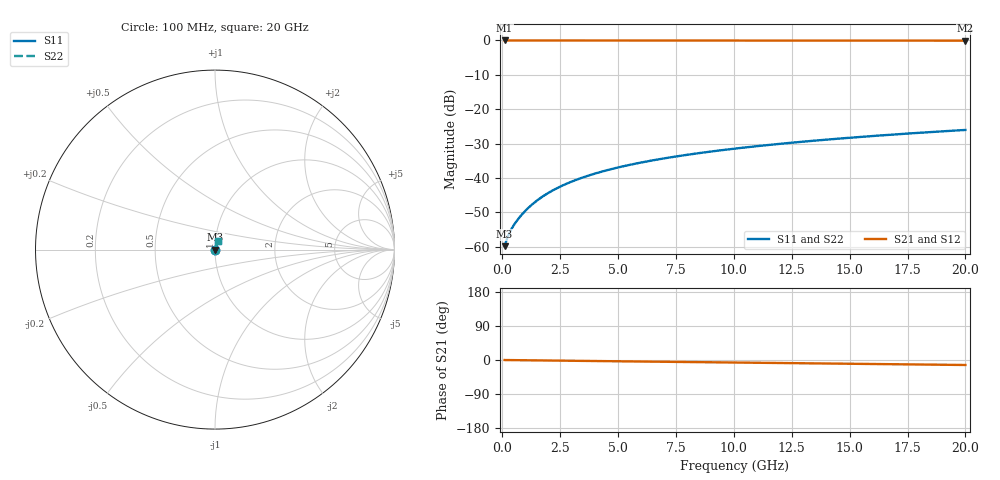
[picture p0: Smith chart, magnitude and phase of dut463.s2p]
! Touchstone file exported from HFSS 2026.1.0
!  File:  C:/ffzhzh/LocalFiles/Ansys_Project_Files/temp_train_TMRDL_463_1783006029_53980.aedt
!  Generated:  11:28:57 PM Jul  2, 2026
!  Design:  TMRDL
!  Project:  temp_train_TMRDL_463_1783006029_53980
! Variables:
!  h_bsmrdl = 2um
!  h_ox = 20um
!  h_rdl = 5um
!  h_sub = 80um
!  h_tmrdl = 4.23um
!  h_tsv = 80um
!  h_via = 3um
!  l_bsmrdl = 300um
!  l_sub = 611.84um
!  l_tmrdl = 211.84um
!  m_sub = 200um
!  pitch = 33.83um
!  r_tsv = 6um
!  s_tmrdl = 10um
!  w_bsmrdl = 18um
!  w_sub = 500um
!  w_tmrdl = 25.52um
!  x_tsv_center1 = 224.6um
!  x_tsv_center2 = 542.6um
!  x_tsv_center3 = 779.96um
!  x_tsv_center4 = 1097.96um
!  x_tsv_center5 = 1335.32um
!  x_tsv_center6 = 1653.32um
# GHz S MA R 50.000000
! Terminal data exported
! Port[1] = TM_RDL1_1_T1
! Port[2] = TM_RDL1_1_T2
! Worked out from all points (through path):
!   200 points, 100 MHz to 20 GHz, reference 50 ohm
!   highest |S21| = -0.01 dB at 100 MHz (marker M1); lowest = -0.1 dB at 20 GHz (marker M2)
!   group delay of S21, straight-line fit = 1.82 ps
!   lowest |S11| = -59.8 dB at 100 MHz (marker M3), VSWR 1.00, Z = 50.1 + j0.0436 ohm
!   |S11| at or under -10 dB: start of sweep to end of sweep
!   |S22| runs from -59.8 to -26.0 dB; largest |S21 - S12| = 3.5e-15
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0.1  0.001018 25.3  0.9991 -0.1  0.9991 -0.1  0.001018 25.3
! Gamma 0 0 0 0
! Port Impedance 50 0 50 0
0.2  0.001298 37.9  0.999 -0.1  0.999 -0.1  0.001298 37.9
0.3  0.001569 44.6  0.9989 -0.2  0.9989 -0.2  0.001569 44.6
0.4  0.001821 49.4  0.9988 -0.3  0.9988 -0.3  0.001821 49.4
0.5  0.002065 53.3  0.9988 -0.4  0.9988 -0.4  0.002065 53.3
0.7  0.00256 59.4  0.9987 -0.5  0.9987 -0.5  0.00256 59.4
0.9  0.003074 63.8  0.9987 -0.6  0.9987 -0.6  0.003074 63.8
1.1  0.003605 67.0  0.9986 -0.8  0.9986 -0.8  0.003605 67.0
1.3  0.004148 69.3  0.9986 -0.9  0.9986 -0.9  0.004148 69.3
1.8  0.005531 72.9  0.9985 -1.2  0.9985 -1.2  0.005531 72.9
2.3  0.006924 74.8  0.9983 -1.6  0.9983 -1.6  0.006924 74.8
2.9  0.008585 76.0  0.9982 -2.0  0.9982 -2.0  0.008585 76.0
3.5  0.01022 76.5  0.998 -2.4  0.998 -2.4  0.01022 76.5
4.2  0.0121 76.7  0.9977 -2.8  0.9977 -2.8  0.0121 76.7
5  0.0142 76.7  0.9974 -3.4  0.9974 -3.4  0.0142 76.7
5.9  0.01652 76.5  0.9971 -4.0  0.9971 -4.0  0.01652 76.5
6.8  0.01878 76.2  0.9968 -4.6  0.9968 -4.6  0.01878 76.2
8.3  0.02249 75.7  0.9963 -5.6  0.9963 -5.6  0.02249 75.7
10.1  0.02684 75.0  0.9958 -6.7  0.9958 -6.7  0.02684 75.0
13.4  0.03467 73.6  0.9949 -8.9  0.9949 -8.9  0.03467 73.6
16.7  0.04235 72.1  0.994 -11.0  0.994 -11.0  0.04235 72.1
20  0.0499 70.4  0.9932 -13.2  0.9932 -13.2  0.0499 70.4
